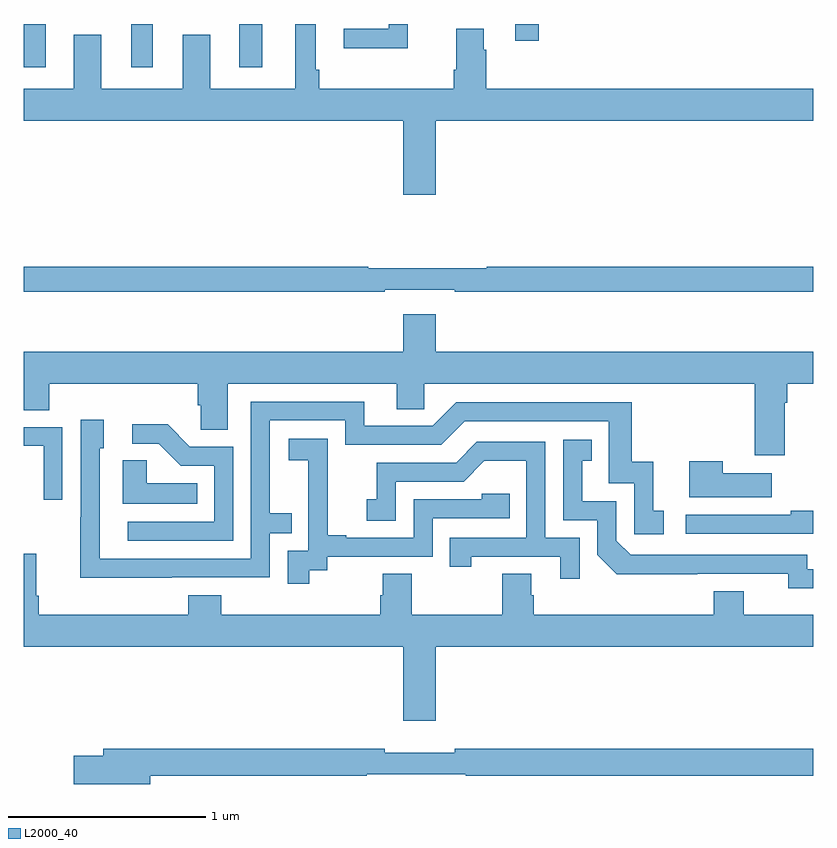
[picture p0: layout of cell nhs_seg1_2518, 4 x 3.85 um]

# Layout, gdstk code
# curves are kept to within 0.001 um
import gdstk
lib = gdstk.Library(unit=1e-6, precision=1e-09)
def R(c, l, rs):  # rectangles x0, y0, x1, y1
    for r in rs: c.add(gdstk.rectangle(r[:2], r[2:], *l))
def P(c, l, *ps):  # polygons
    for p in ps: c.add(gdstk.Polygon(p, *l))
L2000_40 = (2000, 40)

nhs_seg1_2518 = lib.new_cell('nhs_seg1_2518')
R(nhs_seg1_2518, L2000_40, [(247,575.979,247.111,576.199), (247.544,575.979,247.654,576.199), (248.093,575.979,248.209,576.199), (249.491,576.114,249.608,576.199)])
P(nhs_seg1_2518, L2000_40, [(248.946,576.199),(248.85,576.199),(248.85,576.174),(248.622,576.174),(248.622,576.077),(248.946,576.077)],
  [(247.805,576.145),(247.805,575.872),(247.393,575.872),(247.393,576.145),(247.253,576.145),(247.253,575.872),(247,575.872),(247,575.708),(248.924,575.708),(248.924,575.334),(249.088,575.334),(249.088,575.708),(251,575.708),(251,575.872),(249.344,575.872),(249.344,576.068),(249.331,576.068),(249.331,576.176),(249.191,576.176),(249.191,575.968),(249.179,575.968),(249.179,575.872),(248.497,575.872),(248.497,575.968),(248.479,575.968),(248.479,576.199),(248.375,576.199),(248.375,575.872),(247.945,575.872),(247.945,576.145)],
  [(248.828,574.854),(249.184,574.854),(249.184,574.842),(251,574.842),(251,574.97),(249.345,574.97),(249.345,574.963),(248.745,574.963),(248.745,574.97),(247,574.97),(247,574.842),(248.828,574.842)],
  [(250.855,574.28),(250.868,574.28),(250.868,574.376),(251,574.376),(251,574.54),(249.088,574.54),(249.088,574.729),(248.924,574.729),(248.924,574.54),(247,574.54),(247,574.243),(247.13,574.243),(247.13,574.376),(247.883,574.376),(247.883,574.267),(247.896,574.267),(247.896,574.144),(248.035,574.144),(248.035,574.376),(248.891,574.376),(248.891,574.249),(249.03,574.249),(249.03,574.376),(250.703,574.376),(250.703,574.014),(250.855,574.014)],
  [(247.751,573.396),(248.247,573.396),(248.247,573.621),(248.357,573.621),(248.357,573.722),(248.247,573.722),(248.247,574.191),(248.628,574.191),(248.628,574.068),(249.114,574.068),(249.234,574.188),(249.963,574.188),(249.963,573.873),(250.092,573.873),(250.092,573.615),(250.243,573.615),(250.243,573.735),(250.19,573.735),(250.19,573.982),(250.079,573.982),(250.079,574.284),(249.192,574.284),(249.072,574.164),(248.725,574.164),(248.725,574.287),(248.151,574.287),(248.151,573.492),(247.386,573.492),(247.386,574.05),(247.405,574.05),(247.405,574.195),(247.29,574.195),(247.29,573.701),(247.288,573.701),(247.288,573.395)],
  [(248.061,574.059),(247.842,574.059),(247.729,574.172),(247.551,574.172),(247.551,574.074),(247.685,574.074),(247.796,573.963),(247.965,573.963),(247.965,573.678),(247.527,573.678),(247.527,573.582),(248.061,573.582)],
  [(247.197,574.158),(247,574.158),(247,574.062),(247.101,574.062),(247.101,573.789),(247.197,573.789)],
  [(248.446,573.433),(248.538,573.433),(248.538,573.501),(249.072,573.501),(249.072,573.696),(249.461,573.696),(249.461,573.819),(249.321,573.819),(249.321,573.792),(248.976,573.792),(248.976,573.597),(248.635,573.597),(248.635,573.61),(248.54,573.61),(248.54,573.893),(248.541,573.893),(248.541,574.099),(248.343,574.099),(248.343,573.989),(248.441,573.989),(248.441,573.761),(248.442,573.761),(248.442,573.531),(248.337,573.531),(248.337,573.363),(248.446,573.363)],
  [(251,573.438),(250.968,573.438),(250.968,573.51),(250.074,573.51),(250.002,573.582),(250.002,573.783),(249.829,573.783),(249.829,573.987),(249.878,573.987),(249.878,574.093),(249.732,574.093),(249.732,573.687),(249.906,573.687),(249.906,573.51),(250.004,573.413),(250.872,573.414),(250.872,573.341),(251,573.341)],
  [(249.816,573.597),(249.642,573.597),(249.642,574.083),(249.296,574.083),(249.191,573.978),(248.788,573.978),(248.788,573.793),(248.739,573.793),(248.739,573.684),(248.886,573.684),(248.886,573.882),(249.228,573.882),(249.332,573.986),(249.546,573.986),(249.546,573.597),(249.157,573.597),(249.157,573.45),(249.268,573.45),(249.268,573.501),(249.719,573.501),(249.719,573.39),(249.816,573.39)],
  [(247.88,573.874),(247.623,573.874),(247.623,573.989),(247.502,573.989),(247.502,573.77),(247.88,573.77)],
  [(250.789,573.925),(250.541,573.925),(250.541,573.985),(250.37,573.985),(250.37,573.803),(250.789,573.803)],
  [(251,573.734),(250.885,573.734),(250.885,573.714),(250.353,573.714),(250.353,573.618),(251,573.618)],
  [(249.088,573.044),(251,573.044),(251,573.208),(250.648,573.208),(250.648,573.325),(250.496,573.325),(250.496,573.208),(249.584,573.208),(249.584,573.306),(249.571,573.306),(249.571,573.416),(249.424,573.416),(249.424,573.208),(248.967,573.208),(248.967,573.416),(248.819,573.416),(248.819,573.306),(248.807,573.306),(248.807,573.208),(248,573.208),(248,573.307),(247.835,573.307),(247.835,573.208),(247.076,573.208),(247.076,573.304),(247.063,573.304),(247.063,573.517),(247,573.517),(247,573.044),(248.924,573.044),(248.924,572.67),(249.088,572.67)],
  [(247.642,572.392),(248.738,572.392),(248.738,572.4),(249.24,572.4),(249.24,572.392),(251,572.392),(251,572.528),(249.184,572.528),(249.184,572.509),(248.828,572.509),(248.828,572.528),(247.403,572.528),(247.403,572.492),(247.254,572.492),(247.254,572.35),(247.642,572.35)])

lib.write_gds('nhs_seg1_2518.gds')
